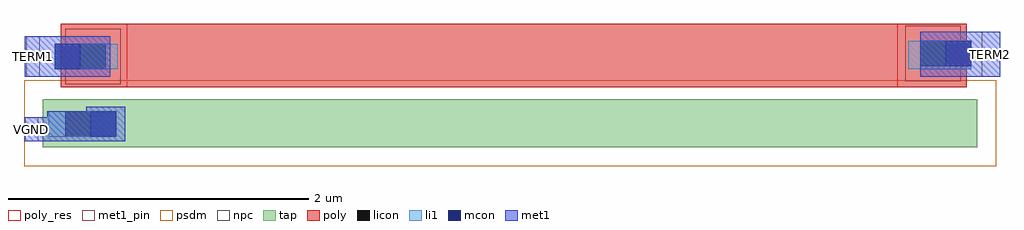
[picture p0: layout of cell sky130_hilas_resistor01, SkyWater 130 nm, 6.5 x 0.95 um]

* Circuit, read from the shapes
.subckt sky130_hilas_resistor01 TERM1 TERM2 VGND
R1 TERM2 TERM1 sky130_fd_pr__res_generic_po w=0.42 l=5.13
.ends

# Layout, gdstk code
import gdstk
lib = gdstk.Library(unit=1e-6, precision=1e-09)
def R(c, l, rs):  # rectangles x0, y0, x1, y1
    for r in rs: c.add(gdstk.rectangle(r[:2], r[2:], *l))
tap = (65, 44)
poly_res = (66, 13)
poly = (66, 20)
licon = (66, 44)
li1 = (67, 20)
mcon = (67, 44)
met1_pin = (68, 16)
met1 = (68, 20)
psdm = (94, 20)
npc = (95, 20)

sky130_hilas_resistor01 = lib.new_cell('sky130_hilas_resistor01')
R(sky130_hilas_resistor01, tap, [(0.12,0,6.34,0.32)])
R(sky130_hilas_resistor01, poly_res, [(0.68,0.4,5.81,0.82)])
R(sky130_hilas_resistor01, poly, [(0.24,0.4,6.27,0.54), (0.24,0.54,6.3,0.71), (0.24,0.71,6.27,0.82)])
R(sky130_hilas_resistor01, licon, [(0.27,0.07,0.44,0.24), (0.37,0.52,0.54,0.69), (5.96,0.54,6.13,0.71)])
R(sky130_hilas_resistor01, li1, [(0.16,0.07,0.61,0.24), (0.2,0.52,0.62,0.69), (5.88,0.52,6.3,0.71)])
R(sky130_hilas_resistor01, mcon, [(0.44,0.07,0.61,0.24), (0.2,0.52,0.37,0.69), (6.13,0.54,6.3,0.71)])
R(sky130_hilas_resistor01, met1_pin, [(0,0.04,0.09,0.2), (0.01,0.47,0.1,0.74), (6.37,0.47,6.49,0.77)])
R(sky130_hilas_resistor01, met1, [(0,0.04,0.67,0.2), (0.15,0.2,0.67,0.24), (0.41,0.24,0.67,0.27), (0,0.47,0.57,0.74), (5.96,0.47,6.49,0.77)])
R(sky130_hilas_resistor01, psdm, [(-0.005,-0.125,6.465,0.445)])
R(sky130_hilas_resistor01, npc, [(0.27,0.42,0.64,0.79), (5.86,0.44,6.23,0.81)])
sky130_hilas_resistor01.add(gdstk.Label('TERM1', (0.055,0.605), layer=68, texttype=16))
sky130_hilas_resistor01.add(gdstk.Label('TERM2', (6.43,0.62), layer=68, texttype=16))
sky130_hilas_resistor01.add(gdstk.Label('VGND', (0.045,0.12), layer=68, texttype=16))

lib.write_gds('sky130_hilas_resistor01.gds')
